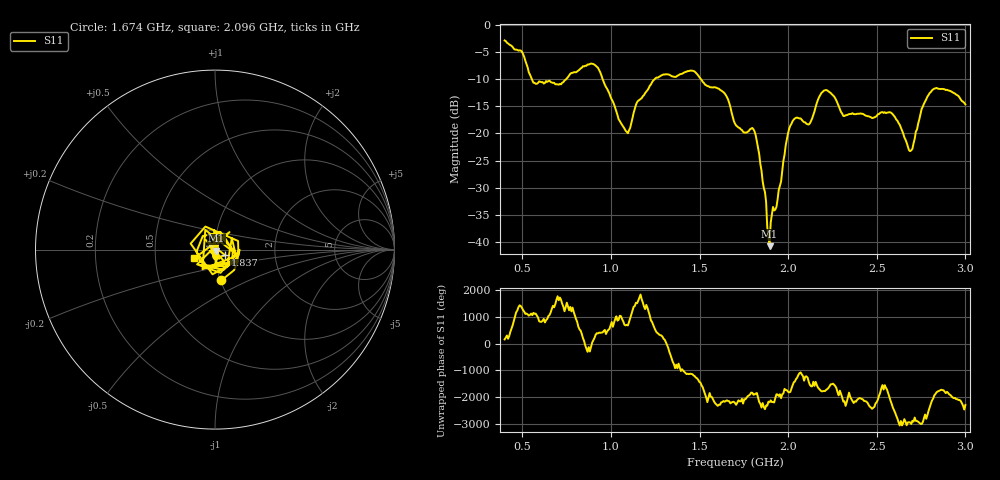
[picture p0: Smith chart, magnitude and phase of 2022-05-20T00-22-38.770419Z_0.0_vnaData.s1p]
!Created with skrf (http://scikit-rf.org).
# Hz S RI R 50.0
!freq ReS11 ImS11
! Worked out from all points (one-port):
!   401 points, 400 MHz to 3 GHz, reference 50 ohm
!   lowest |S11| = -40.7 dB at 1.895 GHz (marker M1), VSWR 1.02, Z = 50.7 - j0.592 ohm
!   |S11| at or under -10 dB: 553.4 MHz to 748 MHz (194.6 MHz wide, 29.9 % of centre); 952.8 MHz to 1.248 GHz (294.9 MHz wide, 26.8 % of centre); 1.507 GHz to end of sweep
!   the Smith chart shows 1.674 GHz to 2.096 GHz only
!   S11 on the Smith chart (normalised r, x): 1.674 GHz: 1.01, -0.36; 1.837 GHz: 1.12, -0.07; 2.096 GHz: 0.79, -0.08
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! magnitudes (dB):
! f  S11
! 400 MHz  -2.9
! 497.5 MHz  -5.0
! 569 MHz  -10.7
! 725 MHz  -10.7
! 907 MHz  -7.4
! 1.05 GHz  -17.7
! 1.095 GHz  -20.0
! 1.147 GHz  -14.2
! 1.245 GHz  -10.1
! 1.375 GHz  -9.4
! 1.472 GHz  -8.6
! 1.674 GHz  -15.1
! 1.7 GHz  -18.2
! 1.804 GHz  -19.2
! 1.837 GHz  -23.8
! 1.895 GHz  -40.7
! 1.947 GHz  -30.4
! 1.999 GHz  -20.0
! 2.025 GHz  -17.7
! 2.096 GHz  -18.0
! 2.207 GHz  -12.1
! 2.35 GHz  -16.4
! 2.578 GHz  -16.1
! 2.675 GHz  -22.4
! 2.701 GHz  -22.8
! 2.76 GHz  -15.1
! 2.818 GHz  -11.9
! 3 GHz  -14.7
